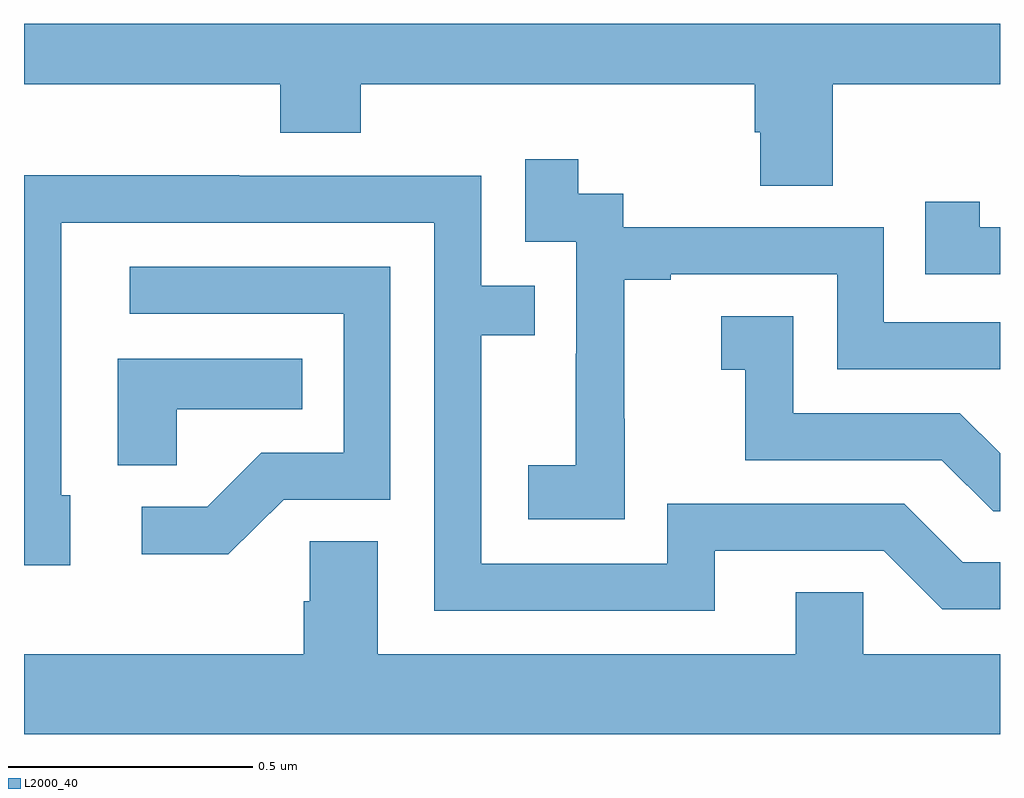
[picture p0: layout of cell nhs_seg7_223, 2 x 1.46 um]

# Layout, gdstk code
import gdstk
lib = gdstk.Library(unit=1e-6, precision=1e-09)
def P(c, l, *ps):  # polygons
    for p in ps: c.add(gdstk.Polygon(p, *l))
L2000_40 = (2000, 40)

nhs_seg7_223 = lib.new_cell('nhs_seg7_223')
P(nhs_seg7_223, L2000_40, [(114.657,1073.876),(115,1073.876),(115,1074),(113,1074),(113,1073.876),(113.525,1073.876),(113.525,1073.777),(113.69,1073.777),(113.69,1073.876),(114.497,1073.876),(114.497,1073.778),(114.509,1073.778),(114.509,1073.668),(114.657,1073.668)],
  [(114.231,1073.191),(114.23,1073.191),(114.23,1073.475),(114.325,1073.475),(114.325,1073.487),(114.666,1073.487),(114.666,1073.292),(115,1073.292),(115,1073.388),(114.762,1073.388),(114.762,1073.583),(114.228,1073.583),(114.228,1073.652),(114.136,1073.652),(114.136,1073.722),(114.027,1073.722),(114.027,1073.553),(114.132,1073.553),(114.132,1073.324),(114.131,1073.324),(114.131,1073.095),(114.033,1073.095),(114.033,1072.985),(114.231,1072.985)],
  [(114.415,1072.92),(114.762,1072.92),(114.882,1072.8),(115,1072.8),(115,1072.896),(114.924,1072.896),(114.804,1073.016),(114.318,1073.016),(114.318,1072.893),(113.937,1072.893),(113.937,1073.362),(114.047,1073.362),(114.047,1073.463),(113.937,1073.463),(113.937,1073.688),(113.441,1073.688),(113.441,1073.69),(113,1073.69),(113,1072.89),(113.095,1072.89),(113.095,1073.034),(113.076,1073.034),(113.076,1073.592),(113.841,1073.592),(113.841,1072.797),(114.415,1072.797)],
  [(115,1073.583),(114.958,1073.583),(114.958,1073.635),(114.847,1073.635),(114.847,1073.487),(115,1073.487)],
  [(113.532,1073.025),(113.751,1073.025),(113.751,1073.502),(113.217,1073.502),(113.217,1073.406),(113.655,1073.406),(113.655,1073.121),(113.486,1073.121),(113.375,1073.01),(113.241,1073.01),(113.241,1072.913),(113.419,1072.913)],
  [(115,1073.12),(114.918,1073.202),(114.576,1073.202),(114.576,1073.401),(114.429,1073.401),(114.429,1073.291),(114.478,1073.291),(114.478,1073.106),(114.881,1073.106),(114.986,1073.001),(115,1073.001)],
  [(113.313,1073.21),(113.57,1073.21),(113.57,1073.314),(113.192,1073.314),(113.192,1073.095),(113.313,1073.095)],
  [(115,1072.708),(114.72,1072.708),(114.72,1072.835),(114.581,1072.835),(114.581,1072.708),(113.725,1072.708),(113.725,1072.94),(113.586,1072.94),(113.586,1072.817),(113.573,1072.817),(113.573,1072.708),(113,1072.708),(113,1072.544),(115,1072.544)])

lib.write_gds('nhs_seg7_223.gds')
